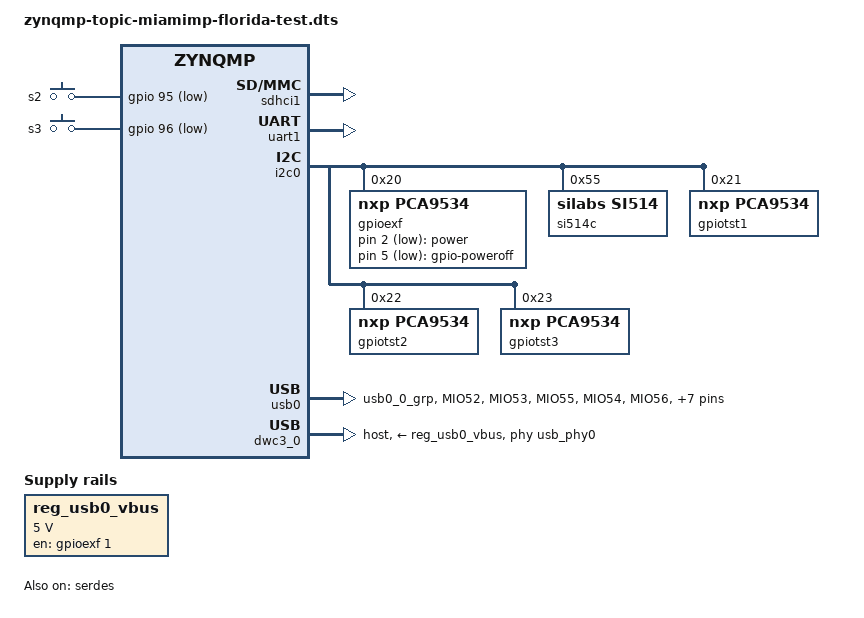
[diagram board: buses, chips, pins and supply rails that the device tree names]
/*
 * dts file for Topic Miami MPSoC
 *
 * (C) Copyright 2017, Topic Embedded Products BV
 * Mike Looijmans <mike.looijmans@topic.nl>
 *
 * This program is free software; you can redistribute it and/or
 * modify it under the terms of the GNU General Public License as
 * published by the Free Software Foundation; either version 2 of
 * the License, or (at your option) any later version.
 */

#include "zynqmp-topic-miamimp.dts"

/* Common components for MIO parts of Florida boards. These are
 * accessible even without programming any logic. */
/ {
	/* Regulator for the 5V USB VBUS power line. This is connected
	 * to the second output of the GPIO expander. */
	reg_usb0_vbus: regulator_usb {
		compatible = "regulator-fixed";
		regulator-name = "usb0-vbus";
		regulator-min-microvolt = <5000000>;
		regulator-max-microvolt = <5000000>;
		gpio = <&gpioexf 1 0>;
		enable-active-high;
		regulator-always-on; /* USB host mode */
	};

	gpio_keys: gpio-keys {
		compatible = "gpio-keys";
		#address-cells = <1>;
		#size-cells = <0>;
		power {
			label = "power";
			gpios = <&gpioexf 2 1>; /* Input 2, active low */
			linux,code = <116>; /* KEY_POWER */
			gpio-key,wakeup;
		};
		/* On-board push buttons in reference design */
		s2 {
			label = "s2";
			gpios = <&gpio 95 1>; /* EMIO 17, active low */
			linux,code = <60>; /* KEY_F2 */
			gpio-key,wakeup;
		};
		s3 {
			label = "s3";
			gpios = <&gpio 96 1>; /* EMIO 18, active low */
			linux,code = <61>; /* KEY_F3 */
			gpio-key,wakeup;
		};
	};

	gpio-poweroff {
		compatible = "gpio-poweroff";
		gpios = <&gpioexf 5 1>; /* Output 5, active low */
		input;
	};
};

/* SD card with level shifter */
&sdhci1 {
	status = "okay";
	no-1-8-v;	/* for 1.0 silicon */
	xlnx,mio_bank = <1>;
	disable-wp; /* We don't have a write-protect detection */
};

&serdes {
	status = "okay";
};

&uart1 {
	status = "okay";
};

/* I2C bus layout */
&i2c0 {
	/* GPIO expander 3v3 */
	gpioexf: pca953x@20 {
		compatible = "nxp,pca9534";
		reg = <0x20>;
		/* 0=USB_OTG_OC_N 1=USB_OTG_EN_N 2=n.c. ...*/
		gpio-controller;
		#gpio-cells = <2>;
		interrupt-controller;
		interrupt-parent = <&gpio>;
	};

	/* Programmable clock, to clock-capable pins on FPGA */
	si514c: si514@carrier {
		reg = <0x55>;
		#clock-cells = <0>;
		compatible = "silabs,si514";
		clock-output-names = "si514carrier";
	};

	/* GPIO expanders 1v8 */
	gpiotst1: pca953x@21 {
		compatible = "nxp,pca9534";
		reg = <0x21>;
		gpio-controller;
		#gpio-cells = <2>;
	};
	gpiotst2: pca953x@22 {
		compatible = "nxp,pca9534";
		reg = <0x22>;
		gpio-controller;
		#gpio-cells = <2>;
	};
	gpiotst3: pca953x@23 {
		compatible = "nxp,pca9534";
		reg = <0x23>;
		gpio-controller;
		#gpio-cells = <2>;
	};
};

/* USB connected through MIO and GPIO expander */
&usb0 {
	status = "okay";
	pinctrl-names = "default";
	pinctrl-0 = <&pinctrl_usb0_default>;
};
&dwc3_0 {
	status = "okay";
	dr_mode = "host"; /* "host", "peripheral" or "otg" */
	maximum-speed = "high-speed"; /* super-speed not available on carrier */
	vbus-supply = <&reg_usb0_vbus>; /* This apparently no longer works */
	usb-phy = <&usb_phy0>;
};

&pinctrl0 {
	status = "okay";

	pinctrl_sdhci1_default: sdhci1-default {
		mux {
			groups = "sdio1_4bit_0_1_grp";
			function = "sdio1";
		};

		conf {
			groups = "sdio1_4bit_0_1_grp";
			slew-rate = <SLEW_RATE_SLOW>;
			io-standard = <IO_STANDARD_LVCMOS18>;
			bias-disable;
		};

		mux-cd {
			groups = "sdio1_0_cd_grp";
			function = "sdio1_cd";
		};

		conf-cd {
			groups = "sdio1_0_cd_grp";
			bias-high-impedance;
			bias-pull-up;
			slew-rate = <SLEW_RATE_SLOW>;
			io-standard = <IO_STANDARD_LVCMOS18>;
		};
	};

	pinctrl_usb0_default: usb0-default {
		mux {
			groups = "usb0_0_grp";
			function = "usb0";
		};

		conf {
			groups = "usb0_0_grp";
			slew-rate = <SLEW_RATE_SLOW>;
			io-standard = <IO_STANDARD_LVCMOS18>;
		};

		conf-rx {
			pins = "MIO52", "MIO53", "MIO55";
			bias-high-impedance;
		};

		conf-tx {
			pins = "MIO54", "MIO56", "MIO57", "MIO58", "MIO59",
			       "MIO60", "MIO61", "MIO62", "MIO63";
			bias-disable;
		};
	};
};
